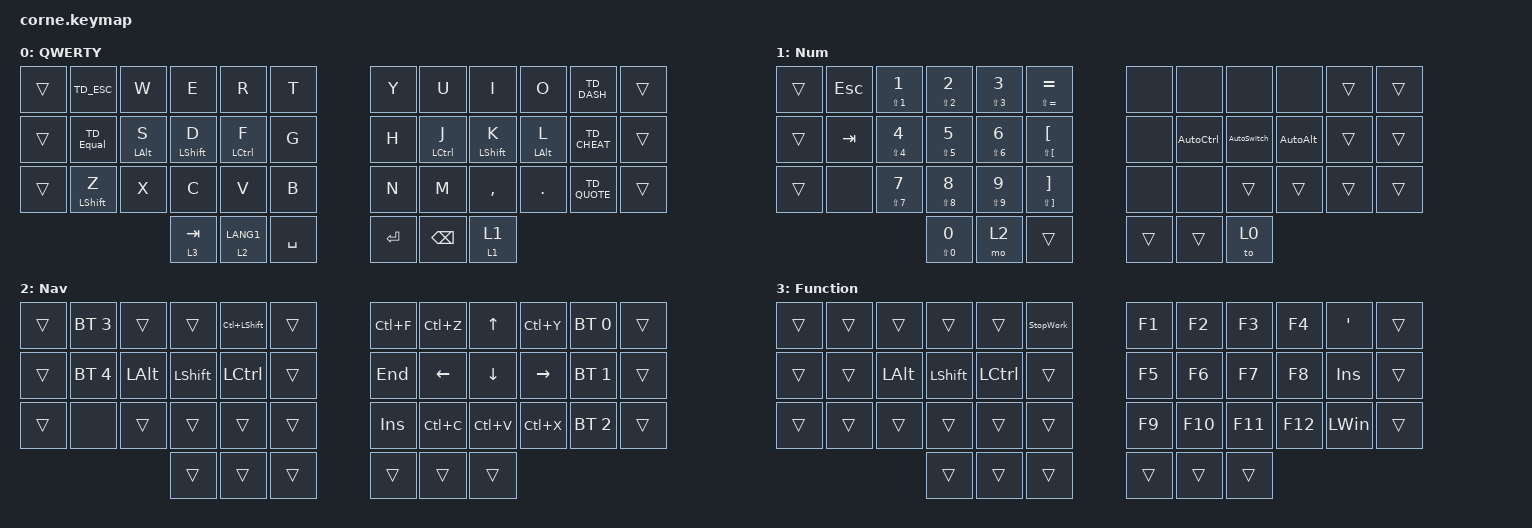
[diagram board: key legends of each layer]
#include <behaviors.dtsi>
#include <dt-bindings/zmk/bt.h>
#include <dt-bindings/zmk/keys.h>

/ {
    behaviors {
        hm: hm {
            compatible = "zmk,behavior-hold-tap";
            label = "HM";
            bindings = <&kp>, <&kp>;

            #binding-cells = <2>;
            tapping-term-ms = <350>;
            quick-tap-ms = <200>;
            require-prior-idle-ms = <125>;
            flavor = "tap-preferred";
        };

        TD_ESC: TD_ESC {
            compatible = "zmk,behavior-tap-dance";
            label = "TD_ESC";
            #binding-cells = <0>;
            bindings = <&kp Q>, <&kp ESC>;

            tapping-term-ms = <350>;
        };

        TD_DASH: TD_DASH {
            compatible = "zmk,behavior-tap-dance";
            label = "TD_DASH";
            #binding-cells = <0>;
            bindings = <&kp P>, <&kp MINUS>;

            tapping-term-ms = <350>;
        };

        TD_QUOTE: TD_QUOTE {
            compatible = "zmk,behavior-tap-dance";
            label = "TD_QUOTE";
            #binding-cells = <0>;
            bindings = <&AS EXCLAMATION SLASH>, <&kp SQT>;

            tapping-term-ms = <350>;
        };

        TD_CHEAT: TD_CHEAT {
            compatible = "zmk,behavior-tap-dance";
            label = "TD_CHEAT";
            #binding-cells = <0>;
            bindings = <&kp SEMICOLON>, <&kp GRAVE>;

            tapping-term-ms = <350>;
        };

        NM: NM {
            compatible = "zmk,behavior-hold-tap";
            label = "NM";
            #binding-cells = <2>;
            tapping-term-ms = <200>;
            flavor = "balanced";
            bindings = <&mo>, <&tog>;

            hold-trigger-key-positions = <41>;
        };

        AS: AS {
            compatible = "zmk,behavior-hold-tap";
            label = "AS";
            bindings = <&kp>, <&kp>;

            #binding-cells = <2>;
            tapping-term-ms = <135>;
            flavor = "tap-preferred";
        };

        TD_Equal: TD_Equal {
            compatible = "zmk,behavior-tap-dance";
            label = "TD_EQUAL";
            #binding-cells = <0>;
            bindings = <&kp A>, <&kp EQUAL>;
        };
    };

    combos {
        compatible = "zmk,combos";

        Com_Del {
            bindings = <&kp DELETE>;
            key-positions = <1 2>;
        };

        Com_Star {
            bindings = <&kp LS(NUMBER_8)>;
            key-positions = <10 9>;
        };

        Com_Lock {
            bindings = <&kp LG(L)>;
            key-positions = <34 33>;
        };

        Com_NUM {
            bindings = <&kp LS(NUMBER_3)>;
            key-positions = <5 6>;
        };

        Com_big {
            bindings = <&Big>;
            key-positions = <17 18>;
        };

        Com_small {
            bindings = <&Small>;
            key-positions = <29 30>;
        };
    };

    macros {
        Big: new_macro {
            compatible = "zmk,behavior-macro";
            #binding-cells = <0>;
            bindings =
                <&kp LEFT_BRACKET &kp RIGHT_BRACKET>,
                <&macro_wait_time 50>,
                <&kp LEFT>;

            label = "NEW_MACRO";
        };

        Small: Small {
            compatible = "zmk,behavior-macro";
            #binding-cells = <0>;
            bindings =
                <&kp LEFT_PARENTHESIS &kp RIGHT_PARENTHESIS>,
                <&macro_wait_time 50>,
                <&kp LEFT>;

            label = "SMALL";
        };

        StopWork: StopWork {
            compatible = "zmk,behavior-macro";
            #binding-cells = <0>;
            bindings =
                <&none &kp MINUS &kp SPACE &kp R &kp O &kp D &kp L &kp S &kp SPACE &kp T &kp K &kp D &kp B>,
                <&macro_press>;

            label = "STOPWORK";
        };

        AutoSwitch: AutoSwitch {
            compatible = "zmk,behavior-macro";
            #binding-cells = <0>;
            bindings =
                <&to 0>,
                <&macro_press>,
                <&kp LEFT_SHIFT>,
                <&macro_pause_for_release>,
                <&macro_release>,
                <&kp LEFT_SHIFT>;

            label = "AUTOSWITCH";
        };

        AutoCtrl: AutoCtrl {
            compatible = "zmk,behavior-macro";
            #binding-cells = <0>;
            bindings =
                <&to 0>,
                <&macro_press>,
                <&kp LCTRL>,
                <&macro_pause_for_release>,
                <&macro_release>,
                <&kp LCTRL>;

            label = "AUTOCTRL";
        };

        AutoAlt: AutoAlt {
            compatible = "zmk,behavior-macro";
            #binding-cells = <0>;
            bindings =
                <&to 0>,
                <&macro_press>,
                <&kp LEFT_ALT>,
                <&macro_pause_for_release>,
                <&macro_release>,
                <&kp LEFT_ALT>;

            label = "AUTOALT";
        };
    };

    keymap {
        compatible = "zmk,keymap";

        QWERTY {
            bindings = <
&trans  &TD_ESC           &kp W           &kp E             &kp R        &kp T        &kp Y      &kp U          &kp I             &kp O           &TD_DASH   &trans
&trans  &TD_Equal         &hm LEFT_ALT S  &hm LEFT_SHIFT D  &hm LCTRL F  &kp G        &kp H      &hm LCTRL J    &hm LEFT_SHIFT K  &hm LEFT_ALT L  &TD_CHEAT  &trans
&trans  &hm LEFT_SHIFT Z  &kp X           &kp C             &kp V        &kp B        &kp N      &kp M          &kp COMMA         &kp DOT         &TD_QUOTE  &trans
                                          &lt 3 TAB         &lt 2 LANG1  &kp SPACE    &kp ENTER  &kp BACKSPACE  &NM 1 1
            >;
        };

        Num {
            bindings = <
&trans  &kp ESC  &AS LS(NUMBER_1) NUMBER_1  &AS LS(NUMBER_2) NUMBER_2  &AS LS(NUMBER_3) NUMBER_3  &AS LS(EQUAL) EQUAL                    &none   &none      &none        &none     &trans  &trans
&trans  &kp TAB  &AS LS(NUMBER_4) NUMBER_4  &AS LS(NUMBER_5) NUMBER_5  &AS LS(NUMBER_6) NUMBER_6  &AS LS(LEFT_BRACKET) LEFT_BRACKET      &none   &AutoCtrl  &AutoSwitch  &AutoAlt  &trans  &trans
&trans  &none    &AS LS(NUMBER_7) NUMBER_7  &AS LS(NUMBER_8) NUMBER_8  &AS LS(NUMBER_9) NUMBER_9  &AS LS(RIGHT_BRACKET) RIGHT_BRACKET    &none   &none      &trans       &trans    &trans  &trans
                                            &AS LS(NUMBER_0) NUMBER_0  &mo 2                      &trans                                 &trans  &trans     &to 0
            >;
        };

        Nav {
            bindings = <
&trans  &bt BT_SEL 3  &trans        &trans          &kp LC(LEFT_SHIFT)  &trans    &kp LC(F)   &kp LC(Z)       &kp UP     &kp LC(Y)  &bt BT_SEL 0  &trans
&trans  &bt BT_SEL 4  &kp LEFT_ALT  &kp LEFT_SHIFT  &kp LCTRL           &trans    &kp END     &kp LEFT_ARROW  &kp DOWN   &kp RIGHT  &bt BT_SEL 1  &trans
&trans  &none         &trans        &trans          &trans              &trans    &kp INSERT  &kp LC(C)       &kp LC(V)  &kp LC(X)  &bt BT_SEL 2  &trans
                                    &trans          &trans              &trans    &trans      &trans          &trans
            >;
        };

        Function {
            bindings = <
&trans  &trans  &trans        &trans          &trans     &StopWork    &kp F1  &kp F2   &kp F3   &kp F4   &kp SQT       &trans
&trans  &trans  &kp LEFT_ALT  &kp LEFT_SHIFT  &kp LCTRL  &trans       &kp F5  &kp F6   &kp F7   &kp F8   &kp INSERT    &trans
&trans  &trans  &trans        &trans          &trans     &trans       &kp F9  &kp F10  &kp F11  &kp F12  &kp LEFT_WIN  &trans
                              &trans          &trans     &trans       &trans  &trans   &trans
            >;
        };
    };
};
